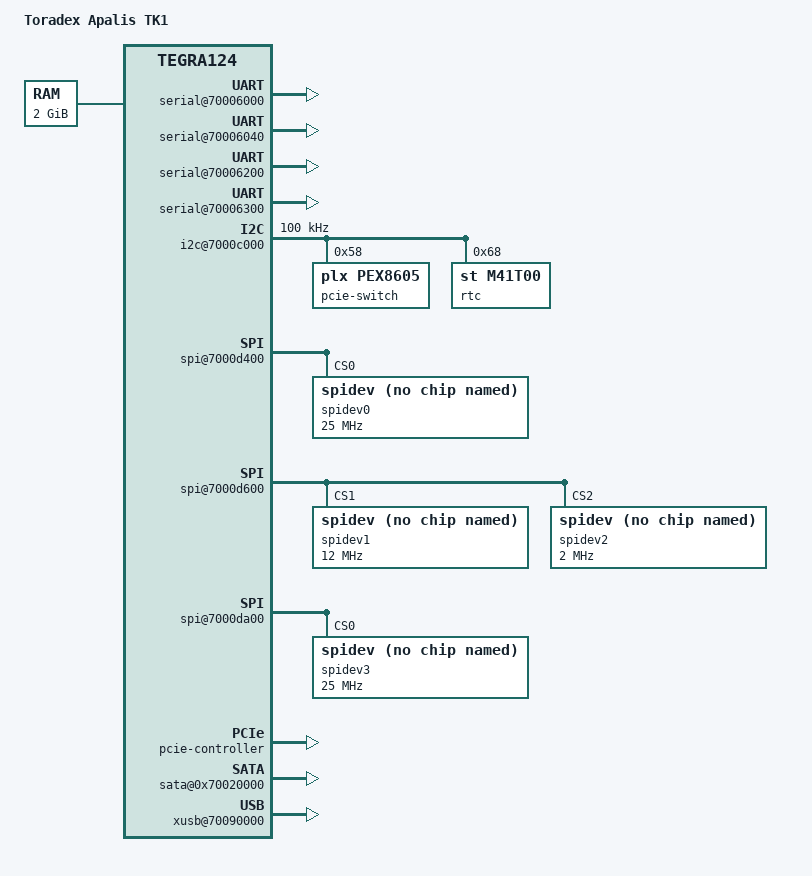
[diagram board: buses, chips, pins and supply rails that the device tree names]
/dts-v1/;

#include "tegra124.dtsi"
#include "tegra124-platforms/tegra124-apalis-keys.dtsi"
#include "tegra124-platforms/tegra124-apalis-gpio.dtsi"
#include "tegra124-platforms/tegra124-apalis-pinmux.dtsi"
#include "tegra124-platforms/tegra124-apalis-pmic.dtsi"
#include "tegra124-platforms/tegra124-apalis-fixed.dtsi"

/ {
	model = "Toradex Apalis TK1";
	compatible = "toradex,apalis-tk1", "nvidia,tegra124";
	nvidia,dtsfilename = __FILE__;
	#address-cells = <2>;
	#size-cells = <2>;

	chosen {
		bootargs = "tegraid=40.0.0.00.00 vmalloc=256M video=tegrafb console=ttyS0,115200n8 earlyprintk";
	};

	psci {
		status = "disabled";
	};

	/* TBD */
	pinmux {
		pinctrl-names = "default", "drive", "unused", "suspend";
		pinctrl-3 = <&pinmux_suspend>;

		/* Change the pin dap_mclk1_req to required configurations */
		unused_lowpower {
			dap_mclk1_req_pee2 {
				nvidia,pins = "dap_mclk1_req_pee2";
				nvidia,function = "sata";
				nvidia,enable-input = <TEGRA_PIN_DISABLE>;
				nvidia,pull = <TEGRA_PIN_PULL_NONE>;
				nvidia,tristate = <TEGRA_PIN_DISABLE>;
			};
		};

		/* On suspend, make dap_mclk1_req to pull up */
		pinmux_suspend: pins_on_suspend {
			dap_mclk1_req_pee2 {
				nvidia,pins = "dap_mclk1_req_pee2";
				nvidia,pull = <TEGRA_PIN_PULL_UP>;
			};
		};
	};

	/* Apalis UART1 */
	serial@70006000 {
		compatible = "nvidia,tegra114-uart", "nvidia,tegra20-uart";
		status = "okay";
	};

	/* Apalis UART2 */
	serial@70006040 {
		compatible = "nvidia,tegra114-hsuart";
		status = "okay";
	};

	/* Apalis UART3 */
	serial@70006200 {
		compatible = "nvidia,tegra114-hsuart";
		status = "okay";
	};

	/* Apalis UART4 */
	serial@70006300 {
		compatible = "nvidia,tegra114-hsuart";
		status = "okay";
	};

	/*
	 * GEN1_I2C: I2C1_SDA/SCL on MXM3 pin 209/211 (e.g. RTC on carrier
	 * board)
	 */
	i2c@7000c000 {
		status = "okay";
		clock-frequency = <100000>;

		pcie-switch@58 {
			compatible = "plx,pex8605";
			reg = <0x58>;
		};

		/* M41T0M6 real time clock on carrier board */
		rtc@68 {
			compatible = "st,m41t00";
			reg = <0x68>;
		};
	};

	/* PWR_I2C: power I2C to audio codec, PMIC and temperature sensor */
	i2c@7000d000 {
		nvidia,bit-banging-xfer-after-shutdown;
	};

	memory@0x80000000 {
		device_type = "memory";
		reg = <0x0 0x80000000 0x0 0x80000000>;
	};

	/* TBD */
	camera-pcl {
		profiles {
			ov4689@2_0036 {
				use_of_node = "yes";
				reset-gpios = <&gpio TEGRA_GPIO(BB, 3) 0>;
				cam1-gpios = <&gpio TEGRA_GPIO(BB, 5) 0>;
			};
			imx185@2_001A {
				use-of-node = "yes";
				cam1-gpios = <&gpio TEGRA_GPIO(BB, 5) 0>;
			};
		};
		dpd {
			default-enable;
		};
	};

	/* SPI1: Apalis SPI1 */
	spi@7000d400 {
		status = "okay";
		spi-max-frequency = <25000000>;

		spidev0: spidev@0 {
			compatible = "spidev";
			reg = <0>;
			spi-max-frequency = <25000000>;
		};
	};

	/* SPI2: MCU SPI */
	spi@7000d600 {
		status = "okay";
		spi-max-frequency = <25000000>;

		spidev1: spidev@1 {
			compatible = "spidev";
			reg = <1>;
			spi-max-frequency = <12000000>;
		};

		spidev2: spidev@2 {
			compatible = "spidev";
			reg = <2>;
			spi-max-frequency = <2000000>;
		};
	};

	/* SPI4: Apalis SPI2 */
	spi@7000da00 {
		status = "okay";
		spi-max-frequency = <25000000>;

		spidev3: spidev@0 {
			compatible = "spidev";
			reg = <0>;
			spi-max-frequency = <25000000>;
		};
	};

	pmc {
		status = "okay";
		nvidia,invert-interrupt;
		nvidia,suspend-mode = <0>;
		nvidia,cpu-pwr-good-time = <500>;
		nvidia,cpu-pwr-off-time = <300>;
		nvidia,core-pwr-good-time = <3845 3845>;
		nvidia,core-pwr-off-time = <2000>;
		nvidia,core-power-req-active-high;
		nvidia,sys-clock-req-active-high;
		nvidia,lp0-vec = <0xf46ff000 2064>;
	};

	pcie-controller {
		nvidia,port0_status = <1>;
		nvidia,port1_status = <1>;
		status = "okay";
	};

	sata@0x70020000 {
		nvidia,enable-sata-port;
		nvidia,sata-connector-type=<STANDARD_SATA>;
		vdd_sata-supply = <&as3722_sd4>;
		avdd_sata_pll-supply =<&as3722_sd4>;
		avdd_sata-supply = <&as3722_sd4>;
		hvdd_sata-supply = <&reg_3v3>;
		vddio_pex_sata-supply = <&reg_3v3>;
		status = "okay";
	};

	/* TBD */
	xusb@70090000 {
		/* nvidia,uses_external_pmic;
		nvidia,gpio_controls_muxed_ss_lanes; */
		nvidia,gpio_ss1_sata = <0>;
		nvidia,portmap = <0x0703>; /* SSP0, SSP1 USB2P0, USB2P1, USB2P2 */
		nvidia,ss_portmap = <0x72>; /* SSP0 on USB2P2, TBD: SSP1 on USB2P0 */
		nvidia,lane_owner = <6>; /* USB3P0 USB3P1 */
		nvidia,ulpicap = <0>; /* No ulpi support. can we remove */
		/* nvidia,supply_utmi_vbuses = "usb_vbus0", "usb_vbus1", "usb_vbus2";
		nvidia,supply_s3p3v = "hvdd_usb";
		nvidia,supply_s1p8v = "avdd_pll_utmip";
		nvidia,supply_s1p05v = "avddio_usb"; */
		status = "okay";
	};
};
